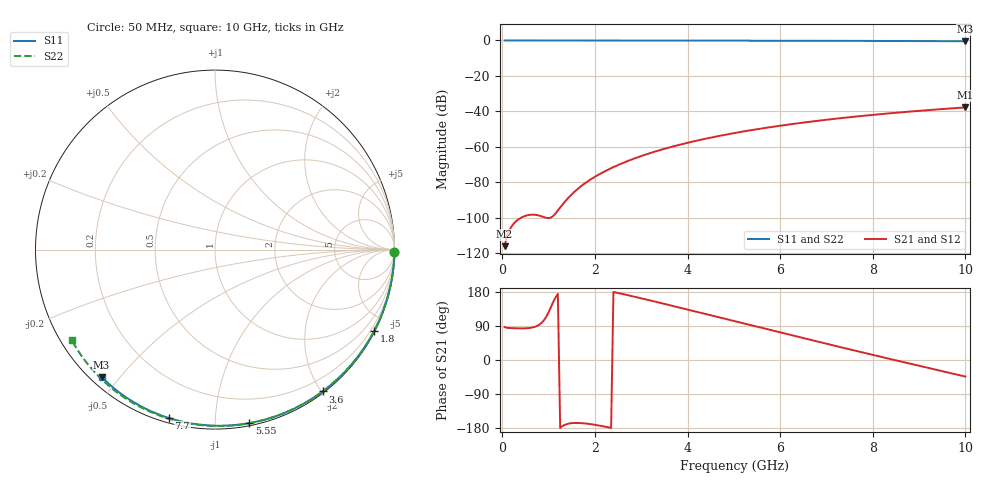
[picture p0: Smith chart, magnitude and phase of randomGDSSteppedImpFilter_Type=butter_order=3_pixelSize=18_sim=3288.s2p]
! freq	dB(S11)	phase(S11)	dB(S12)	phase(S12)
!  dB(S21)	phase(S21)	dB(S22)	phase(S22)
!S-par simulation data
#  GHz  S  DB  R 50
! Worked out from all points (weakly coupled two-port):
!   200 points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, 50 MHz to 10 GHz, reference 50 ohm
!   highest |S21| = -37.81 dB at 10 GHz (marker M1); lowest = -116.2 dB at 50 MHz (marker M2)
!   lowest |S11| = -0.4 dB at 10 GHz (marker M3), VSWR 39.04, Z = 1.54 - j22.4 ohm
!   |S11| at or under -10 dB: nowhere
!   |S22| runs from -0.5 to 0.0 dB; largest |S21 - S12| = 0
!   S11 on the Smith chart (normalised r, x): 50 MHz: open; 1.8 GHz: 0.04, -4.16; 3.6 GHz: 0.02, -2.01; 5.55 GHz: 0.02, -1.22; 7.7 GHz: 0.02, -0.76; 10 GHz: 0.03, -0.45
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0.05  -0.00 -0.8  -116.17 86.7  -116.17 86.7  -0.00 -0.9
0.45  -0.01 -6.9  -99.51 83.4  -99.51 83.4  -0.01 -7.7
0.9  -0.02 -13.6  -99.78 105.0  -99.78 105.0  -0.02 -15.3
1.3  -0.02 -19.6  -92.68 -174.4  -92.68 -174.4  -0.03 -22.1
1.75  -0.03 -26.3  -81.33 -167.0  -81.33 -167.0  -0.04 -29.5
1.8  -0.03 -27.0  -80.38 -167.6  -80.38 -167.6  -0.04 -30.4
1.85  -0.04 -27.7  -79.48 -168.3  -79.48 -168.3  -0.04 -31.2
2.05  -0.04 -30.7  -76.22 -172.1  -76.22 -172.1  -0.04 -34.5
2.2  -0.04 -32.9  -74.08 -175.5  -74.08 -175.5  -0.05 -36.9
2.55  -0.05 -37.9  -69.78 175.5  -69.78 175.5  -0.05 -42.6
2.95  -0.06 -43.7  -65.74 164.3  -65.74 164.3  -0.06 -49.0
3.4  -0.07 -50.0  -61.95 151.1  -61.95 151.1  -0.07 -56.1
3.6  -0.07 -52.8  -60.47 145.1  -60.47 145.1  -0.08 -59.2
4.3  -0.09 -62.4  -55.99 124.0  -55.99 124.0  -0.10 -69.9
5.05  -0.11 -72.4  -52.11 101.2  -52.11 101.2  -0.12 -81.0
5.55  -0.13 -78.9  -49.91 86.1  -49.91 86.1  -0.14 -88.2
6.1  -0.15 -85.8  -47.78 69.6  -47.78 69.6  -0.17 -95.9
6.7  -0.18 -93.3  -45.72 51.7  -45.72 51.7  -0.20 -104.1
7.7  -0.24 -105.3  -42.80 22.3  -42.80 22.3  -0.27 -117.5
8.35  -0.29 -112.9  -41.18 3.4  -41.18 3.4  -0.32 -126.1
9.2  -0.36 -122.7  -39.33 -21.0  -39.33 -21.0  -0.41 -137.2
10  -0.45 -131.7  -37.81 -43.7  -37.81 -43.7  -0.50 -147.6
